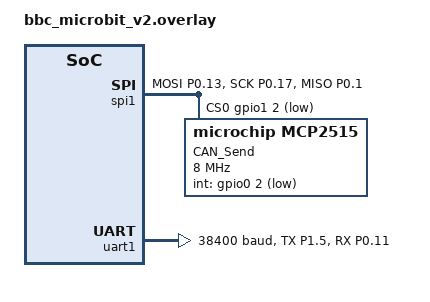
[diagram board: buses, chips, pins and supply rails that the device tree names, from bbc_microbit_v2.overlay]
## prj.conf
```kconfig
#Fenris24
CONFIG_STDOUT_CONSOLE=y
CONFIG_GPIO=y
CONFIG_ADC=y
CONFIG_CAN=y
CONFIG_SPI=y
CONFIG_CAN_MCP2515=y
CONFIG_NRFX_TIMER0=y
CONFIG_NRFX_TIMER1=y
CONFIG_NEWLIB_LIBC=y
CONFIG_SERIAL=y
CONFIG_UART_INTERRUPT_DRIVEN=y
CONFIG_UART_CONSOLE=y
CONFIG_RING_BUFFER=y

#(PROWLTECH25) Commented and coded by CA & RS 
CONFIG_BT=y  # (ProwlTech) Lar micro:bit bruke bluetooth
CONFIG_BT_PERIPHERAL=y  # (ProwlTech) aktiverer muligheten for andre enheter å koble til micro:bit
CONFIG_BT_CENTRAL=y # (ProwlTech) gjør det mulig for micro:bit å koble til andre enheter
CONFIG_BT_HCI=y # (ProwlTech) Micro:bit blir til en sentral for bluetooth
CONFIG_BT_OBSERVER=y # (ProwlTech) Lar micro:bit se hvilke bluetooth enheter som er nærhet
CONFIG_BT_DEVICE_NAME="Zephyr_Xbox" # (ProwlTech) Dette gir et navn til Micro:bit som andre kan se når de søker etter den
CONFIG_BT_MAX_CONN=1 # (ProwlTech) Setter en maksgrense på antall enheter tilkoblet til 1
CONFIG_BT_GATT_CLIENT=y # (ProwlTech) Tillater micro:bit å hente info fra kontroll
CONFIG_BT_GATT_DIS=y # (ProwlTech) Tillater micro:bit å kommunisere med kontroll og spørre om identifikasjon
CONFIG_BT_DEBUG=y # (ProwlTech) printer ut det som skjer i bluetooth systemet
CONFIG_BT_SMP=y # (ProwlTech) Kryptering så ingen kan tukle med forbindelsen
CONFIG_BT_HID_PROFILE=y # (ProwlTech) Micro:bit blir klar til å snakke med enheter som tastatur
CONFIG_BT_HIDP=y # (ProwlTech) Så micro:bit forstår kontrollen sitt "språk"
CONFIG_BT_GATT_DEBUG=y # (ProwlTech) Gir info om micro:bit klarer å kommunisere med kontrollen
CONFIG_BT_CONN_DEBUG=y # (ProwlTech) Gir info om forbindelsen er dårlig eller bra
CONFIG_BT_HCI_ACL_FLOW_CONTROLL=y # (ProwlTech) Passer på at micro:bit ikke blir overbelastet med data.
```

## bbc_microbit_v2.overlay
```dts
&spi1 {
	status = "okay";
	pinctrl-0 = <&spi1_default>;
	pinctrl-names = "default";
	cs-gpios = <&gpio1 2 GPIO_ACTIVE_LOW>;
	mcp2515_can: mcp2515@0 {
		compatible = "microchip,mcp2515";
        spi-max-frequency = <8000000>;
        int-gpios = <&gpio0 2 GPIO_ACTIVE_LOW>;
        status = "okay";
		label = "CAN_Send";
		reg = <0x0>;
		osc-freq = <16000000>;
		bus-speed = <125000>;
		sjw = <1>;
		prop-seg = <2>;
		phase-seg1 = <7>;
		phase-seg2 = <6>;
		#address-cells = <1>; 
		#size-cells = <0>;

	};

};
&uart1 {
    current-speed = <38400>;
	status = "okay";
	pinctrl-0 = <&uart1_default>;
	pinctrl-names = "default";
    label = "UART_1";
};

&pinctrl {
	spi1_default: spi1_default {
		group1 {
			psels = <NRF_PSEL(SPIM_MOSI, 0, 13)>,
					<NRF_PSEL(SPIM_SCK, 0, 17)>,
					<NRF_PSEL(SPIM_MISO, 0, 1)>;
		};
	};
	uart1_default: uart1_default {
		group1 {
			psels = <NRF_PSEL(UART_TX, 1, 5)>, <NRF_PSEL(UART_RX, 0, 11)>;
		};
	};
};

/ {
    chosen {
        zephyr,canbus = &mcp2515_can;
    };
};
```

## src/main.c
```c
#include <zephyr/kernel.h>
#include <zephyr/drivers/can.h>
#include "interrupt_and_threads.h"
#include "canbus.h"
#include "math_calc.h"
#include "path_check.h"
#include "canbus.h"
#include "bt_controller.h"


int main(void) {
    //(FENRIS24)configure_uart(uart_dev);
    btBegin();
    canBegin();
    start_sensor_thread();
    start_js_thread();
    interruptThreadBegin();

    while (1) {
        k_msleep(500);  //(FENRIS24) Sleep for 100 milliseconds
    }
    return 0; //(FENRIS24) Add return statement
}
```

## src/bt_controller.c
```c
#include "bt_controller.h"
#include <zephyr/sys/ring_buffer.h>
#include <zephyr/drivers/uart.h>
#include <zephyr/kernel.h>
#include <string.h>
#include <stdlib.h>
 //(FENRSI24) Commented and coded by OA

#include <zephyr/bluetooth/bluetooth.h>
#include <zephyr/bluetooth/gap.h>
#include <zephyr/bluetooth/conn.h>
 //(PROWLTECH25) Commented and coded by CA & RS 

const struct device *const get_uart_dev(void){ //(FENRSI24) ferFuction responsible for finding and accessing the UART/ HC-05 device
    return DEVICE_DT_GET(DT_NODELABEL(uart1)); //(FENRSI24) Returns the UART device by looking for it in the devicetree/ overlay file by label - 
}


static uint8_t ring_buffer_storage[RING_BUF_SIZE]; //(FENRSI24) Variable for storing the ring-buffer and its size
static struct ring_buf ringbuf; //(FENRSI24) Ring-buffer variable
static struct joystick_data last_received_data; //(FENRSI24) Last-received data variable
static bool new_data_available = false; //(FENRSI24) Variable used to represent if new data is available or not

struct joystick_data get_js_data(){ //(FENRSI24) Function that allows other parts of the program to access the received joystick data
    return last_received_data;
};

static void parse_joystick_data(char *data, struct joystick_data *joy_data) { //(FENRSI24) Function that parses/ filters out the isolated data from the uart callback function
    char *start = strchr(data, 'S'); //(FENRSI24) Searches for the first occurence of the character 'S' in the string, and the pointer 'start' will point to 'S' if found, or NULL if not
    char *end = strchr(data, 'E'); //(FENRSI24) Searches for the first occurence of the character 'E' in the string, and the pointer 'end' will point to 'E' if found, or NULL if not
    if (start && end && start < end) { //(FENRSI24) If test to check if both 'start' and 'end' are not NULL, and that 'start' is less than 'end', to make sure it comes in the right order
        *end = '\0'; //(FENRSI24) Terminate the string at the end delimiter
        joy_data->joystickId = (*(start + 1) - '0') != 0; //(FENRSI24) Extracts the character directlyn after 'S', converts it from ASCII to and integer, and checks if it is not zero, then assigns the value to the variable
        joy_data->x = atoi(start + 3); //(FENRSI24) Parses an integer staring from three characters after 'S', and thn assigning the value to the variable
        joy_data->y = atoi(strchr(start + 3, ',') + 1); //(FENRSI24) Finds the comma (',') following the X-values, parses the integer directly after the comma, and assigns the value into the Y-value variable
        new_data_available = true;  //(FENRSI24) Signal that new data is available
        last_received_data = *joy_data;  //(FENRSI24) Store the last received data
    }
}

void uart_fifo_callback(const struct device *dev, void *user_data) { //(FENRSI24) Function that reads data from UART FIFO buffer, processes it and isolates the desired data
    static char data_buffer[128]; //(FENRSI24) Buffer variable to hold incoming data
    static int data_pos = 0; //(FENRSI24) Variable for current position in buffer

    while (uart_irq_update(dev) && uart_irq_is_pending(dev)) { //(FENRSI24) While function that continues to run as long as there is available updates from the UART and there are pending interrupts
        if (uart_irq_rx_ready(dev)) { //(FENRSI24) If test to check if data is ready to be read
            uint8_t buffer[64]; //(FENRSI24) Temporary buffer to store data
            int recv_len = uart_fifo_read(dev, buffer, sizeof(buffer)); // Reads data into a temporary buffer and then returnes the number of bytes read
            if (recv_len > 0) { //(FENRSI24) If test checking if the length of the received buffer is greater than zero
                //(FENRSI24) Append data to buffer
                for (int i = 0; i < recv_len; i++) { //(FENRSI24) For-loop running as long as the position read in the buffer is less than the length of the buffer
                    if (buffer[i] == 'S') { //(FENRSI24) If test that checks for the start of a new packet
                        data_pos = 0; //(FENRSI24) Reset data position if found
                    }
                    if (data_pos < sizeof(data_buffer) - 1) { //(FENRSI24) If test that adds data to the data_buffer, while ensuring it does not overflow
                        data_buffer[data_pos++] = buffer[i];
                    }
                    if (buffer[i] == 'E') { //(FENRSI24) End of packet found, process data
                        data_buffer[data_pos] = '\0'; //(FENRSI24) Null terminate
                        parse_joystick_data(data_buffer, &last_received_data); //(FENRSI24) Call for using the function parse_joystick_data
                        data_pos = 0; //(FENRSI24) Reset for next packet
                    }
                }
            }
        }
    }
}


void process_joystick_data() { //(FENRSI24) Function that checks if there is new available data
    if (new_data_available) { //(FENRSI24) If test to check if there is new data available
        //(FENRSI24) printk("Using joystick data: ID=%d, X=%d, Y=%d\n", last_received_data.joystickId, last_received_data.x, last_received_data.y);
        new_data_available = false;  // Sets the new data variable to false, indicating that there is no new data available at this point
    }
}

void configure_uart(const struct device *dev) { //(FENRSI24) Fucntion for setting up interrupt-driven UART communication using a ring-buffer
    uart_irq_callback_set(dev, uart_fifo_callback); // Callback function that will be triggered by interrupts
    uart_irq_rx_enable(dev); //(FENRSI24) Function that enables the receive interrupt for the device, triggering the callback function when there is new data comming in
    ring_buf_init(&ringbuf, RING_BUF_SIZE, ring_buffer_storage); //(FENRSI24) Buffer used to store incoming data
}

static struct bt_conn *default_conn = NULL; //(PWORLTECH25) ....

void device_found(const bt_addr_le_t *addr, int8_t rssi, uint8_t type, struct net_buf_simple *ad) //(PWORLTECH25) ....
{
    char dev[BT_ADDR_LE_STR_LEN];
    bt_addr_le_to_str(addr, dev, sizeof(dev));
    printk("Device found: %s (RSSI %d)\n", dev, rssi);

    // Check if the device name contains "Xbox"
    if (strstr(dev, "Xbox")) {
        printk("Xbox Controller found! Connecting...\n");

        struct bt_conn_le_create_param *create_param = BT_CONN_LE_CREATE_PARAM(
            BT_CONN_LE_OPT_NONE, BT_GAP_SCAN_FAST_INTERVAL, BT_GAP_SCAN_FAST_WINDOW);

        int err = bt_conn_le_create(addr, create_param, BT_LE_CONN_PARAM_DEFAULT, &default_conn);
        if (err) {
            printk("Failed to create connection (err %d)\n", err);
        } else {
            printk("Connection established\n");
        }

        bt_le_scan_stop();  // Stop scanning after finding the controller
    }
}


void btReady(int err) //(PROWLTECH25) ....
{
    if (err) {
        printk("Bluetooth init failed");
        return;
    }
    printk("Bluetooth initialized\n");

    struct bt_le_scan_param scan_param = {
        .type       = BT_LE_SCAN_ACTIVE,
        .options    = BT_LE_SCAN_OPT_NONE,
        .interval   = BT_GAP_SCAN_FAST_INTERVAL,
        .window     = BT_GAP_SCAN_FAST_WINDOW,
    };

    err = bt_le_scan_start(&scan_param, device_found);
    if (err) {
        printk("Scanning failed to start");
        return;
    }
    printk("Scanning started\n");
}

void btBegin() //(PROWLTECH25) ...
{
    int err = bt_enable(btReady);
    if (err) {
        printk("Bluetooth init failed");
    }
}
```

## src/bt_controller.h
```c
#ifndef BT_CONTROLLER_H
#define BT_CONTROLLER_H

#include <zephyr/types.h>
#include <stdbool.h>

// Commented and coded by OA

#define RING_BUF_SIZE 1024 // Defining the size of the ring-buffer

struct joystick_data { // Struct that defines what the joystick-data variable contains
    bool joystickId; // True (1) for the right joystick, False (0) for the left
    int x;
    int y;
};

const struct device *const get_uart_dev(void); // Getting the UART device
struct joystick_data get_js_data(); // Struct that makes the joystick data accessible
void configure_uart(const struct device *dev); // Configures the UART
void uart_fifo_callback(const struct device *dev, void *user_data); // Callback function for reading the UART buffer
void process_joystick_data(); // Function that checks if there is new available data
void btBegin(); // Function responcible for the initialization, configuration and startup of the UART/ HC-05 device

#endif 
```

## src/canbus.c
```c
#include <zephyr/kernel.h>
#include <zephyr/drivers/can.h>
#include <zephyr/drivers/spi.h>
#include <zephyr/drivers/gpio.h>
#include <zephyr/device.h>
#include "canbus.h"
#include <stdio.h>
//(FENRIS24) Commented and coded by OA

uint8_t received_byte;

void canBegin(void){ //(FENRIS24) Function for startring up and initializing the CAN device
    const struct device *const can_dev = get_can_dev(); //(FENRIS24) Getting the CAN device connected to the system
    
    if (!can_dev) { //(FENRIS24) Test that checks is the CAN device is found. If not it will print the error message and return
        printk("Cannot find CAN device!\n");
        return;
    }

    int ret = can_start(can_dev); //(FENRIS24) Starting up the CAN device
    if (ret != 0) { //(FENRIS24) Check to see if the CAN device has started, if not it will print the error message and return
        printf("Failed to start CAN controller: Error %d\n", ret);
        return;
    }
    if (setup_can_filter(can_dev, can_rx_callback, NULL) < 0) { //(FENRIS24) Check to see if the CAN filter is set up or not
        printk("Failed to add CAN filter\n");
        return;
    }
}

uint8_t get_sensor_byte(){ //(FENRIS24) Function that allows other parts of the program to access the received sensor byte
    return received_byte;
}

const struct device *const get_can_dev(void){ //(FENRIS24) Fuction responsible for finding and accessing the CAN device
    return DEVICE_DT_GET(DT_CHOSEN(zephyr_canbus)); //(FENRIS24) Returns the CAN device by looking for it in the devicetree/ overlay file under "chosen"
} 



int setup_can_filter(const struct device *dev, can_rx_callback_t rx_cb, void *cb_data){ //(FENRIS24) Function for setting up the can filter, taking in the CAN device, callback function and cb data
    struct can_filter filter_str = { //(FENRIS24) CAN filter for a string
        .flags = CAN_FILTER_DATA | CAN_FILTER_IDE, //(FENRIS24) Setting the flags for the filter, where the filter matches the data frames, and that the filter matches CAN frames with extended ID (29-bit)
	    .id = RECEIVE_ID_STR, //(FENRIS24) Filter ID set to match the sender ID of the string, defined in the header file.
	    .mask = CAN_EXT_ID_MASK //(FENRIS24) Filter bit mask for an extended 29-bit CAN ID
    };

    struct can_filter filter_byte = { //(FENRIS24) CAN filter for a byte
        .flags = CAN_FILTER_DATA | CAN_FILTER_IDE, //(FENRIS24) Setting the flags for the filter, where the filter matches the data frames, and that the filter matches CAN frames with extended ID (29-bit)
	    .id = RECEIVE_ID_BYTE, //(FENRIS24) Filter ID set to match the sender ID of the byte, defined in the header file.
	    .mask = CAN_EXT_ID_MASK //(FENRIS24) Filter bit mask for an extended 29-bit CAN ID
    };

    struct can_filter filter_pi = { //(PROWLTECH25) CAN filter for PI
        .flags = CAN_FILTER_DATA | CAN_FILTER_IDE,
        .id = RECEIVE_ID_PI,
        .mask = CAN_EXT_ID_MASK
    };

    int filter_id_str = can_add_rx_filter(dev, rx_cb, cb_data, &filter_str); //(FENRIS24) Setting the filter for the string as a variable
    int filter_id_byte = can_add_rx_filter(dev, rx_cb, cb_data, &filter_byte); //(FENRIS24) Setting the filter for the byte as a variable
    int filter_id_pi = can_add_rx_filter(dev, rx_cb, cb_data, &filter_pi); //(PROWLTECH25) filter for kontroller values from PI 

    return (filter_id_str >= 0 && filter_id_byte >= 0 && filter_id_pi >= 0) ? 0 : -1;  //(FENRIS24) Return 0 if both filters are added successfully //(PROWLTECH25) Pi also return to 0
}

void can_rx_callback(const struct device *dev, struct can_frame *frame, void *user_data) { //(FENRIS24) Function for checking CAN frames on the bus
    if (frame->id == RECEIVE_ID_STR && frame->dlc <= 8) { //(FENRIS24) If test for checking if the frame-ID matches the receive ID for the string frame, and if the size of the frame is equal to or less than 8 byte
        char received_str[9]; //(FENRIS24) Character variable to put the string in
        memcpy(received_str, frame->data, frame->dlc); //(FENRIS24) Copies the data from the received CAN frame into received_str buffer
        received_str[frame->dlc] = '\0'; //(FENRIS24) NULL terminates it for safe processing
        //(FENRIS24) printk("Received string from ID 0x%X: %s\n", frame->id, received_str);
    } 
    //(FENRIS24) Checking if the frame on the BUS has the ID and frame data size as the one sent from the Sensor node
    else if (frame->id == RECEIVE_ID_BYTE && frame->dlc == 1) { 
        received_byte = frame->data[0];
        //(FENRIS24) printk("Received byte from ID 0x%X: %02X\n", frame->id, received_byte);
    } 
    else {
        printk("Unexpected data format or ID\n");
    }
}

/* Function to convert CAN state to readable string */
const char* can_state_to_str(enum can_state state) {
    switch (state) {
        case CAN_STATE_ERROR_ACTIVE: 
            return "ERROR ACTIVE";
        case CAN_STATE_ERROR_WARNING:
            return "ERROR WARNING";
        case CAN_STATE_ERROR_PASSIVE:
            return "ERROR PASSIVE";
        case CAN_STATE_BUS_OFF:
            return "BUS OFF";
        case CAN_STATE_STOPPED:
            return "STOPPED";
        default:
            return "UNKNOWN";
    }
}

void send_custom_data (const struct device *can_dev, uint8_t js_bool, int16_t js_deg_int, int16_t js_spd_int){ //(FENRIS24) Function for sending joystick data over the bus
    struct can_frame frame; //(FENRIS24) Defining a CAN frame called frame
    memset(&frame, 0, sizeof(frame)); //(FENRIS24) Zeros out the frame to ensure that all bits starts in a knwown state
        
    frame.flags = CAN_FRAME_IDE; //(FENRIS24) Use extended identifier
    frame.id = MSG_ID; //(FENRIS24) Using the message ID for the frame that is defined in the header file
    frame.dlc = 5; //(FENRIS24) Defines the length of the byte in the frame to 5

    frame.data[0] = js_bool; //(FENRIS24) Places the boolean value of the joystick used into the first byte of the data field
    memcpy(&frame.data[1], &js_deg_int, sizeof(js_deg_int)); //(FENRIS24) Copies the 2 bytes of the joystick-degree integer, starting at the second byte
    memcpy(&frame.data[3], &js_spd_int, sizeof(js_spd_int)); //(FENRIS24) Copies the 2 bytes of the joystick-speed integer, starting at the fourth byte

    if (can_send(can_dev, &frame, K_SECONDS(10), NULL, NULL) != 0) { //(FENRIS24) If test to check if the CAN frame is sent or not
            printk("Failed to send frame\n");
        } /*else {
            printk("Frame sent\n");
        }*/
}

void get_pi_controller_data(struct can_frame *frame) {
    if (frame->dlc != 8) {
        printk("Feil: Forventet 8 byte fra Pi, fikk %d\n", frame->dlc);
        return;
    }

    uint8_t knapper = frame->data[0];
    uint8_t status = frame->data[1];
    int16_t venstre_y, høyre_y;
    uint8_t lt = frame->data[6];
    uint8_t rt = frame->data[7];

    memcpy(&venstre_y, &frame->data[2], sizeof(int16_t));
    memcpy(&høyre_y, &frame->data[4], sizeof(int16_t));

    // Print or handle
    printk("[PI] Knapper: 0x%02X, Status: 0x%02X\n", knapper, status);
    printk("[PI] Venstre Y: %d, Høyre Y: %d, LT: %u, RT: %u\n", venstre_y, høyre_y, lt, rt);

    // TODO: Use values to control motors, LEDs, etc.
}
```

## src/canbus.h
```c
#ifndef __CANBUS_H
#define __CANBUS_H
#include <zephyr/drivers/can.h>

//(FENRIS24) Commented and coded by OA

//(FENRIS24) can_dev
const struct device *const get_can_dev(void); // Function for getting the CAN device

//(FENRIS24) can_receive
#define RECEIVE_ID_STR 0x0000002 //(FENRIS24) RECEIVE ID matching the message ID of the motor frame
#define RECEIVE_ID_BYTE 0x0000003 //(FENRIS24) RECEIVE ID matching the message ID of the sensor frame
#define RECEIVE_ID_PI 0x0000004 //(PROWLTECH25) Receive id matching the message id for the Raspberry Pi 4 (GUI) 

int setup_can_filter(const struct device *dev, can_rx_callback_t rx_cb, void *cb_data); //(FENRIS24) Function for setting up the CAN filter

void can_rx_callback(const struct device *dev, struct can_frame *frame, void *user_data); // Function for looking at CAN frames on the bus, and retreiving them
uint8_t get_sensor_byte(); //(FENRIS24) Function for accessing the sensor byte sent over the bus from the sensor node
//can_send
#define MSG_ID 0x0000001 //(FENRIS24) Message ID of the frame

const char* can_state_to_str(enum can_state state); // Function that converts the CAN states to string
void send_custom_data (const struct device *can_dev, uint8_t js_bool, int16_t js_deg_int, int16_t js_spd_int); // Function for sending a CAN frame with joystick data 

void canBegin(void); //(FENRIS24) Function for initializing and starting the CAN device
#endif
```

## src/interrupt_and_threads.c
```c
#include "interrupt_and_threads.h"
#include "math_calc.h"
#include "path_check.h"
#include "canbus.h"
#include <zephyr/kernel.h>
#include <zephyr/sys/printk.h>
#include "bt_controller.h"



//(FENRIS24) Definerer hvor stort plass hver tråd skal tildeles
#define PROCESS_THREAD_STACK_SIZE_JOY 4096
#define PROCESS_THREAD_STACK_SIZE_SENS 4096
#define PROCESS_THREAD_STACK_SIZE_INT 4096

//(FENRIS24) Definerer prioriteten til hver tråd
#define PROCESS_THREAD_PRIORITYJOY 3
#define PROCESS_THREAD_PRIORITYSENS 2
#define PROCESS_THREAD_PRIORITYINT 1

//(FENRIS24) Reserverer et område på "stacken" til hver tråd
K_THREAD_STACK_DEFINE(sensor_stack, PROCESS_THREAD_STACK_SIZE_SENS);
K_THREAD_STACK_DEFINE(joystick_stack, PROCESS_THREAD_STACK_SIZE_JOY);
K_THREAD_STACK_DEFINE(int_stack, PROCESS_THREAD_STACK_SIZE_INT);

//(FENRIS24) Variabel av datatype med 2 heltall (x og y) som brukes etter det er utført en stereografisk projeksjon på potmeter x og y verdi.
struct ProjectionResult x_y_temp;

//(FENRIS24) Global variabel som kontinuerlig skal oppdateres med sensor-verdi sendt over CANBUS fra sensor-kontroller
uint8_t sensorRead;

//(FENRIS24) 3 trådstruktur-variabler. En for hver tråd.
struct k_thread process_thread1;
struct k_thread process_thread2;
struct k_thread process_thread3;

// Variabel med datatype som kan holde rå joystick-data sendt over bluetooth
static struct joystick_data js_raw_data;

//(FENRIS24) Variabel med datatype som kan holde en kjøre-kommando
struct data_for_motorcontroller data;

//(FENRIS24) Lager thread_id variabler lik NULL. Hvis null så settes så kan en tråd startes. Det er bygd slik fordi noen tråder bare skal initialiseres èn gang.
k_tid_t js_thread_id = NULL;
k_tid_t sensor_thread_id = NULL;
static k_tid_t thread_id = NULL;

//(FENRIS24) Variabel brukt til å feilteste. Brukt til å teste om timet interrupt ble triggret ved hvert intervall. Hvis så ble counter++.
int counter = 0;

//(FENRIS24) Litt usikker på hva denne gjør
#define TIMER_INST_IDX 1

//(FENRIS24) Definerer hvor ofte interrupt skal inntreffe i millisekunder
#define TIME_TO_WAIT_MS 500UL

//(FENRIS24) Funksjonen som sammenligner ønsket kjøreretning med sensor-verdier avlest. Kjørekommando sendes videre over CANBUS etter sammenligning
void process_data(struct data_for_motorcontroller data, uint8_t sensorVals) {

        
        //(FENRIS24) Sammenligner ønsket kjørertning med sensorverdi, og oppdaterer kjørekommando med resultatene fra sammenligningen. 
        struct path_check_results motor_values = path_check(data.angle , data.speed, data.js, sensorRead);

        //(FENRIS24) Sender kjørekommando over CANBUS
        send_custom_data(get_can_dev(), (uint8_t)motor_values.js_num, (int16_t)motor_values.angle, (int16_t)motor_values.speed);

        //(FENRIS24) Etter tråden er kjørt, må tråd_id settes lik NULL igjen slik at den kan startes på nytt ved neste timet interrupt
        if (thread_id != NULL) {
            //(FENRIS24) Venter til tråden er ferdig, og fjerner den når jobben er gjort
            k_thread_join(thread_id, K_FOREVER);

            //(FENRIS24) Setter thread_id = NULL
            thread_id = NULL;
        }
}


int get_counter(){
    //(FENRIS24) Returnerer counter
    return counter;
}


static void timer_handler(nrf_timer_event_t event_type, void *p_context)
{
    //(FENRIS24) Funksjonen venter på at korrekt "event" skjer. Skjer ved timet interrupt
    if(event_type == NRF_TIMER_EVENT_COMPARE0)
    {
        if(thread_id == NULL){
            counter++;
        
        //(FENRIS24) Lager en ny variabel som er lik en tråd med parametere: trådvariabel av tråddatatype, hvilken stack den skal bruke, strørrelsen på stacken, 
        //(FENRIS24) hvilken funksjon som skal kjøre, og prioritet.
            k_tid_t thread_id = k_thread_create(&process_thread1, int_stack,
                                            K_THREAD_STACK_SIZEOF(int_stack),
                                            (k_thread_entry_t)process_data, NULL,
                                            NULL, NULL, PROCESS_THREAD_PRIORITYINT, 0,
                                            K_NO_WAIT);
        //(FENRIS24) Hvis tråd lages uten feil
            if (thread_id != NULL) {
                printk("Thread created successfully\n");
            } else {
                //(FENRIS24) Hvis thread_id ikke setter til den nye tråden vil den fortsatt være lik NULL. Dette betyr at en feil oppsto i konstruksjonen av tråden
                printk("Failed to create thread\n");
            }        
        }
    k_msleep(10);
    }
}




void continous_js_thread(){
        while (1){
                //(FENRIS24) Henter joystick-data fra bt_controller.c.
                js_raw_data = get_js_data();
                
                //(FENRIS24) Funksjon for å si til bt_controller at data er hentet
                process_joystick_data();

                //(FENRIS24) Lager en ny variabel av datatype som skal holde x og y verdi etter en stereografisk projeksjon. Variabelen settes lik funksjonen som utfører
                //(FENRIS24) projeksjonen og sender ny-utregnet x og y ut av den.
                x_y_temp = stereographic_projection_2D(js_raw_data.x , js_raw_data.y);

                //(FENRIS24) Setter global kjørekommando sin vinkel lik dataen som kommer ut av funksjonen som kalkulerer vinkel ut fra x- og y-verdi.
                data.angle = calculate_angle_degrees(x_y_temp.x, x_y_temp.y);

                //(FENRIS24) Setter global kjørekommando sin fart lik en skalert verdi av hva punkt x og y sin lengde fra origo er i planet. Den skaleres i forhold til maks verdi den kan ha (512).
                data.speed = scale_to_percent(calculate_radius(x_y_temp.x, x_y_temp.y), 512);

                //(FENRIS24) Setter global kjørekommando sin bool lik joystick dataen sin bool. Ingen endring eller manipulering av verdien er ikke nødvendig
                data.js = js_raw_data.joystickId;

                //(FENRIS24) Printer verdiene til skjerm. Mest brukt for testing av verdier og funksjoner. brukt til test.
                //(FENRIS24) printk("Angle: %d, speed: %d\n", data.angle, data.speed);

                //(FENRIS24) Systemet sover i 0.1 sekund før tråden kjøres igjen. Sove-perioden må kalibreres som et forhold til hvor ofte den tidsbaserte interrupten triggres.
                k_msleep(10);
        }
}

void continous_sensor_thread(){
        while(1){

                //(FENRIS24) Henter sensordata fra CANBUS.c
                sensorRead = get_sensor_byte();

                //(FENRIS24) Printer sensorverdi til skjerm. Brukt til test.
                //(FENRIS24) printk("Sensorverdi: %d\n", (int)sensorRead);

                //(FENRIS24) Systemet sover i 0.01 sekund før tråden kjøres igjen. Sove-perioden kalibreres som et forhold av tidsbasert interrupt.
                k_msleep(10);
        }
}

void interruptThreadBegin(){
        //(FENRIS24) Sender melding til seriell monitor om at timed-interrupt initialiseres og navn på det konfigurerte brettet.
        printk("Timed interrupt initialized! %s\n", CONFIG_BOARD);
	
    //(FENRIS24) Oppsettet til timeren:
	#if defined(__ZEPHYR__)
        //(FENRIS24) IRQ = interrupt request. Her kobles opp en timet interrupt request, med interrupt vektor av lavest prioritet.
    	IRQ_CONNECT(NRFX_IRQ_NUMBER_GET(NRF_TIMER_INST_GET(TIMER_INST_IDX)), IRQ_PRIO_LOWEST,
                NRFX_TIMER_INST_HANDLER_GET(TIMER_INST_IDX), 0, 0);
	#endif
	
        //(FENRIS24) Henter timerinstansen
	    nrfx_timer_t timer_inst = NRFX_TIMER_INSTANCE(TIMER_INST_IDX);

        //(FENRIS24) Henter basefrekvensen til timerinstansen
 	    uint32_t base_frequency = NRF_TIMER_BASE_FREQUENCY_GET(timer_inst.p_reg);

        //(FENRIS24) Konfigurerer standardkonfigurasjon for timer
        nrfx_timer_config_t config = NRFX_TIMER_DEFAULT_CONFIG(base_frequency);
        config.bit_width = NRF_TIMER_BIT_WIDTH_32; // Bitbredde lik 32 bits
        config.p_context = "My context";

        //(FENRIS24) Inititialiserer timer med konfigurasjon og angir funksjon som skal kjøres ved interrupt
        nrfx_err_t status = nrfx_timer_init(&timer_inst, &config, timer_handler);
            if (status != NRFX_SUCCESS) {
            printk("Timer initialization failed: %d\n", status);
        }

        //(FENRIS24) Sjekk om initaliseringen var vellykket
        NRFX_ASSERT(status == NRFX_SUCCESS);

        //(FENRIS24) Funksjon som nullstiller timeren
        nrfx_timer_clear(&timer_inst);

        //(FENRIS24)
        uint32_t desired_ticks = nrfx_timer_ms_to_ticks(&timer_inst, TIME_TO_WAIT_MS);
    
    
     
        //(FENRIS24) Funksjon som setter opp en timerkanal. Kanalen sammenligner ønsket "ticks" med internt tallregister.
        //(FENRIS24) Når tallregistrert er likt antall ticks vil systemet interruptes.
        nrfx_timer_extended_compare(&timer_inst, NRF_TIMER_CC_CHANNEL0, desired_ticks,
                                NRF_TIMER_SHORT_COMPARE0_CLEAR_MASK, true);

        //(FENRIS24)Funksjon som aktiverer timeren
        nrfx_timer_enable(&timer_inst);
}

void start_js_thread(){

    //(FENRIS24) Printer til skjerm at initialisering av tråden har startet. Brukt til testing
    //(FENRIS24) printf("Joystick-thread started!");

    if(js_thread_id == NULL){

        //(FENRIS24) Lager en ny variabel som er lik en tråd med parametere: trådvariabel av tråddatatype, hvilken stack den skal bruke, strørrelsen på stacken, 
        //(FENRIS24) hvilken funksjon som skal kjøre, og prioritet.
        k_tid_t js_thread_id = k_thread_create(&process_thread2, joystick_stack,
                                           K_THREAD_STACK_SIZEOF(joystick_stack),
                                           continous_js_thread, NULL, NULL,
                                           NULL, PROCESS_THREAD_PRIORITYJOY, 0,
                                           K_NO_WAIT);
    
        //(FENRIS24) Hvis tråden ikke er lik NULL, altså at tråd_id har blitt satt lik tråden, printes en suksessmelding til seriell monitor.
        if (js_thread_id != NULL) {
            printk("Joystick thread created successfully\n");
        } else {
            //(FENRIS24) Hvis tråden er lik NULL, altså at tråd_id ikke har blitt satt lik tråden, printes en feilmelding til seriell monitor.
            printk("Failed to create Joystick thread\n");
        }
    }
}

void start_sensor_thread(){

    //(FENRIS24) Når initialiseringen skjer printes det til skjerm. Brukt til testing
    //(FENRIS24) printf("Sensor-thread started!");

    if (sensor_thread_id == NULL){

        //(FENRIS24) Lager en ny variabel som er lik en tråd med parametere: trådvariabel av tråddatatype, hvilken stack den skal bruke, strørrelsen på stacken, 
        //(FENRIS24) hvilken funksjon som skal kjøre, og prioritet.
        k_tid_t sensor_thread_id = k_thread_create(&process_thread3, sensor_stack,
                                               K_THREAD_STACK_SIZEOF(sensor_stack),
                                               continous_sensor_thread, NULL, NULL,
                                               NULL, PROCESS_THREAD_PRIORITYSENS, 0,
                                               K_NO_WAIT);
        //(FENRIS24) Hvis tråden ikke er lik NULL, altså at tråd_id har blitt satt lik tråden, printes en suksessmelding til seriell monitor.
        if (sensor_thread_id != NULL) {
            printk("Sensor thread created successfully\n");
        } else {
            //(FENRIS24) Hvis tråden er lik NULL, altså at tråd_id ikke har blitt satt lik tråden, printes en feilmelding til seriell monitor.
            printk("Failed to create Sensor thread\n");
        }
    }
}
```

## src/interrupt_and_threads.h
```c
#ifndef __INTERRUPT_AND_THREADS_H
#define __INTERRUPT_AND_THREADS_H

#include <stdio.h>
#include <stdbool.h>
#include <zephyr/sys/printk.h>
#include <nrfx_timer.h>

//(FENRIS24) Dette er en datatype brukt til å ta imot joystick-data fra den trådløse kontrolleren
//(FENRIS24) Den består av 2 heltall (potmeter verdi i x og y retning), og en bool (om joystick knapp er trykket inn)
struct js_data_raw {
    int pot_x; 
    int pot_y; 
    bool js;
};

//(FENRIS24) Dette er en datatype brukt for konvertert joystick-data, og er hva som vil bli kjørekommando for motor-kontroller.
//(FENRIS24) Den består av 2 heltall (vinkel til punktet x og y lager, og hypotenusen punktet lager fra origo) 
//(FENRIS24) og en bool om joystickknapp er trykket inn.
struct data_for_motorcontroller {
    int angle; 
    int speed; 
    bool js;
};

//(FENRIS24) funksjon brukt til feiltesting av tråder. Ble brukt til å se hvor mange ganger interrupten inntraff.
int get_counter();

//(FENRIS24) Dette er prosesseringsfunksjonen som kjøres i tråden som lages ved hver timet interrupt.
void process_data(struct data_for_motorcontroller data, uint8_t sensorVals);

//(FENRIS24) Dette er en tråd-funksjon som kontinuerlig kjøres, og dens oppgave er å konvertere joystick data til en kjørekommando, så lagre den globalt så process_data finner den.
void continous_js_thread();

//(FENRIS24) Dette er en tråd-funksjom som kontinuerlig kjøres, og dens oppgave er å hente sensor-dataen fra bt_controller bibliotek, så lagre den globalt så process_data finner den.
void continous_sensor_thread();

//(FENRIS24) Dette er funksjonen som kjøres når timet interrupt inntreffer. Når interrupt inntreffer endres event_type slik at ny funksjonalitet skjer --> lager tråd som kjører process_data
static void timer_handler(nrf_timer_event_t event_type, void *p_context);

//(FENRIS24) Dette er funksjonen som setter opp og initialiserer timet interrupt. Denne funksjonen er tatt fra veileders kode på github: https://github.com/aiunderstand/Real-TimeOS-with-Microbit-nRF52833/tree/main/Zephyr-C/Hardware_Timer_with_interrupt
void interruptThreadBegin();

//(FENRIS24) Dette er funksjonen som initialiserer og starter tråden som leser joystick-data. Tråden kjører continous_js_thread()
void start_js_thread();

//(FENRIS24) Dette er funksjonen som initialiserer og starter tråden som leser sensor-data. Tråden kjører continous_sensor_thread()
void start_sensor_thread();

#endif
```

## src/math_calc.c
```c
#include <math.h>
#include "math_calc.h"
//(PROWLTECH25) Commented and coded by CA & RS 

// (FENRIS24) Funksjonen tar inn rå potmeter verdi sendt fra kontroller (0 til 1023)
struct ProjectionResult stereographic_projection_2D(int x, int y){
    // (FENRIS24) Trekker fra 512 (1023/2) fra x og y. Må finne midtpunkt og ha muligheten til å ha negative akse-verdier for å senere bruke verdier i enhetssirkel.
    int unit_x = x - 512;
    int unit_y = y - 512;

    // (FENRIS24) Finner forholdet mellom x og y verdi
    double a = (double)y / (double)x;

    // (FENRIS24) Trigonometrisk formel for å finne x i en sirkel vha forholdet mellom x og y i en firkant
    double temp_x = 1 / sqrt(1 + (a * a));

    // (FENRIS24) Finner y-verdi ved å bruke forholdet mellom x og y i en firkant, og multipliserer med ny x-verdi
    double temp_y = a * temp_x;
    
    // (FENRIS24) lager en variabel som kan holde resultatene fra funksjonen
    struct ProjectionResult result;

    //(FENRIS24)  Oppdaterer variablen med resultatene utregnet i funksjonen
    result.x = (int)(temp_x * unit_x);
    result.y = (int)(temp_y * unit_y);

    // (FENRIS24) Funksjon som sjekker etter fortegnsfeil etter omforming av verdier
    if ((unit_y > 29 && result.y < 29) || (unit_y < -29 && result.y > 29)){
        result.y = (result.y * -1);
    }
    
    // (FENRIS24) Returnerer variablen
    return result;
}

// (FENRIS24) Denne funksjonen på få inn stereografisk projeksjonerte x og y verdier
int calculate_angle_degrees(int x, int y){
    // (FENRIS24) Lager variabler som lagrer x og y midlertidig
    int temp_x = x;
    int temp_y = y;

    // (FENRIS24) Funksjon for å definere dødsonen til joystick i x-retning
    if ((-40 < x) && (x < 41)){
        temp_x = 0;
    }
    //(FENRIS24)  Funksjon for å definere dødsone til joystick i y-retning
    if ((-28 < y) && (y < 29)){
        temp_y = 0;
    }

    // (FENRIS24) Sikkerhetslag i tilfelle joystick-verdiene kommer utenfor maks område i negativ og positiv retning
    if (x > 512){temp_x = 512;}
    if (x < -512){temp_x = -512;}
    if (y > 512){temp_y = 512;}
    if (y < -512){temp_y = -512;}

    // (FENRIS24) Lager variabel som skal holde vinkelen målt i radianer. Variabelen settes lik resultatet av en atan2 funksjon med x og y som parametere
    double angle_radians = atan2(temp_x, temp_y);

    //(FENRIS24)  Lager variabel som skal holde vinkel målt i grader. Variabelen settes lik radianer utregnet omgjort til vinkel
    double angle_degrees = ((angle_radians * 180) / 3.14159);

    //(FENRIS24) atan2 gir vinkel fra -180 til 180 grader. Denne funksjonen omgjør negativ vinkel til vinkler over 180 grader. Slik at 0-360 grader oppnåes.
    if (angle_degrees < 0){angle_degrees += 360.0;}

    // (FENRIS24)  returnerer utregnet vinkel
    return (int)angle_degrees;
}

// (FENRIS24) Funksjon som regner på punkt(x,y) sin lengde fra origo. Bruker vanlig pytagoras setning h = sqrt(k1*k1 + k2*k2)
int calculate_radius(int x, int y){
    // (FENRIS24) lager variabler midlertidig for å holde verdiene.
    int temp_x = x;
    int temp_y = y;

    // (FENRIS24) Sjekk for å definere dødsone fra joystick
    if ((-40 < x) && (x < 40)){
        temp_x = 0;
    }
    if ((-40 < y) && (y < 40)){
        temp_y = 0;
    }

    // (FENRIS24) lager variabel som holder resultatet utregnet etter pytagoras sin setning
    double radius = sqrt((temp_x * temp_x) + (temp_y * temp_y));

    // (FENRIS24) Returnerer punktets lengde fra origo
    return (int)radius;
}


int scale_to_percent(int number, int max_value){
    // (FENRIS24) Lager variabel som holder det skalerte tallet etter prosentutregning.
    double scaled_number = ((double)number / (double)max_value) * 100.0;

    // (FENRIS24)  Returnerer tall som beskriver hvor stort number er iforhold til max_value
    return (int)(scaled_number);
}
```

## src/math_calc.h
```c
#ifndef __MATH_CALC_H
#define __MATH_CALC_H

//(FENRIS24) Datatype for variabel som skal holde x og y verdi etter stereografisk projeksjon
struct ProjectionResult {
    int x;
    int y;
};
//(FENRIS24) Funksjon som omgjør akser i en firkant til akse-verdier på en sirkel
struct ProjectionResult stereographic_projection_2D(int x, int y);

//(FENRIS24) Funksjon som regner vinkel til punkt(x,y) fra origo
int calculate_angle_degrees(int x, int y);

//(FENRIS24) Funksjon som regner avstanden fra punkt(x,y) til origo
int calculate_radius(int x, int y);

//(FENRIS24) Funksjon som skalerer et tall iforhold til en referanse verdi
int scale_to_percent(int number, int scale_ref);
#endif
```

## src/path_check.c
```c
#include <stdio.h>
#include <stdbool.h>
#include "path_check.h"

struct path_check_results path_check(int angle, int speed, bool js_num, uint8_t sensorValues){
    //(FENRIS24) Lager en variabel som kan settes lik sensorene i retningen som skal testen. Se Masketabell for sensorer (tabell 9 i rapport)
    uint8_t testBits;

    //(FENRIS24) Variabelen som manipuleres og returneres fra funksjonen
    struct path_check_results forward_results;
    forward_results.angle = angle;
    forward_results.js_num = js_num;

    //(FENRIS24) Hvis sann er laterale bevegelser valgt
    if (js_num == true){
        
        //(FENRIS24) For å kunne kjøre skal joystick være minst 10% ut fra origo. 10% hastighet
        if (speed > 10){
        //(FENRIS24) Funksjon som tester om joysticken er satt i en fremover-kjørings posisjon
            if ((angle >= 337 && angle <= 360) || (angle >= 0 && angle < 23)) {
            
                printf("FORWARD\n");
                //(FENRIS24) Her må det bitsvis AND'es med 0001 (se tabell), så variabelen settes lik sensoren som sanser fremover
                testBits = (uint8_t)1;

                //(FENRIS24) Funksjon som tester om bitvis operasjonen returnerer en verdi større enn 0. Hvis dette skjer betyr det at sensoren sanser et objekt i retningen, og kjørekommandoen må blokkeres.
                if ((int)(sensorValues & testBits) > 0){
                    //(FENRIS24) fart settes lik null hvis sensor er blokkert
                    forward_results.speed = 0;
                    
                }
                else{
                    //(FENRIS24) fart settes lik den opprinnelige farten hvis sensor IKKE er blokkert
                    forward_results.speed = speed;
                    
                }

            } else if(angle >= 23 && angle < 67){
                //(FENRIS24) Diagonal kjøring fremover mot høyre
                printf("Right-Forward diagonal");
                testBits = (uint8_t)3;
                if ((int)(sensorValues & testBits) > 0){
                    forward_results.speed = 0;
                    
                }
                else{
                    forward_results.speed = speed;
                    
                }

            } else if (angle >= 67 && angle < 112) {
                //(FENRIS24) Streifing mot høre
                printf("RIGHT STRAFE\n");
                testBits = (uint8_t)2;
                if ((int)(sensorValues & testBits) > 0){
                    forward_results.speed = 0;
                    
                }
                else{
                    forward_results.speed = speed;
                    
                }

            } else if (angle >= 112 && angle < 157){
                //(FENRIS24) Diagonal kjøring bakover mot høyre
                printf("Right-Backward diagonal");
                testBits = (uint8_t)10;
                if ((int)(sensorValues & testBits) > 0){
                    forward_results.speed = 0;
                    
                }
                else{
                    forward_results.speed = speed;
                    
                }

            } else if (angle >= 157 && angle < 202) {
                //(FENRIS24) Bakover kjøring
                printf("BACKWARDS\n");
                testBits = (uint8_t)8;
                if ((int)(sensorValues & testBits) > 0){
                    forward_results.speed = 0;
                    
                }
                else{
                    forward_results.speed = speed;
                    
                }

            } else if (angle >= 202 && angle < 247) {
            //(FENRIS24) Diagonal bakover til venstre kjøring.
                printf("Left-Backward diagonal");
                testBits = (uint8_t)12;
                if ((int)(sensorValues & testBits) > 0){
                    forward_results.speed = 0;
                    
                }
                else{
                    forward_results.speed = speed;
                    
                }

            } else if (angle >= 247 && angle < 292){
            //(FENRIS24) Vesntre streifing
                printf("LEFT STRAFE\n");
                testBits = (uint8_t)4;
                if ((int)(sensorValues & testBits) > 0){
                    forward_results.speed = 0;
                    
                }
                else{
                    forward_results.speed = speed;
                    
                }

            } else if (angle >= 292 && angle < 337){
            //(FENRIS24) diagonal kjøring fremover mot venstre
                printf("Left-Forward diagonal");
                testBits = (uint8_t)5;
                if ((int)(sensorValues & testBits) > 0){
                    forward_results.speed = 0;
                    
                }
                else{
                    forward_results.speed = speed;
                    
                }
            }
        }
        else {
            //(FENRIS24) Hvis en vinkel utenfor 0-360 av en eller annen grunn sendes til funksjonen, skal bilen stå stille.
            printf("Standing still, no motion\n");
            forward_results.speed = 0;
            }
    
    }

    //(FENRIS24) Funksjon for å se om det er ønsket å rotere bilen
    else if(js_num == false){

        if (speed > 10){
            if (angle >= 20 && angle < 160){
            //(FENRIS24) Roter rundt egen akse mot høyre
                printf("RIGHT Rotate\n");
                testBits = (uint8_t)15;
                if ((int)(sensorValues & testBits) > 0){
                    forward_results.speed = (int)(speed/2);
                    
                }
                else{
                    forward_results.speed = speed;
                    
                }
            } 
        
        else if (angle > 200 && angle < 340){
            //(FENRIS24) Rotasjon rundt egen akse mot venstre
            
            printf("LEFT Rotate\n");
            testBits = (uint8_t)15;
                if ((int)(sensorValues & testBits) > 0){
                    forward_results.speed = (int)(speed/2);
                    
                }
                else{
                    forward_results.speed = speed;
                    
                }
                
            }
            else {
            printf("No rotation\n");
            forward_results.speed = 0;
            }
        
        }
        //(FENRIS24) Hvis joysticken er i vinkel mellom rotasjonsintervallene eller av en eller annen grunn gir verdier utenfor 0-360 grader.
        else {
            printf("Standing still, no rotation\n");
            forward_results.speed = 0;
            }
    }
    //(FENRIS24) returnerer kjørekommandoen etter test
    return forward_results;
}
```

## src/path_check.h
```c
#ifndef __PATH_CHECK_H
#define __PATH_CHECK_H
#include <stdio.h>

// datatype for kjørekommando etter path_check. Inneholder 2 int (vinkel og fart) og en bool (om joystick er trykket inn eller ikke)
struct path_check_results {
    int angle;
    int speed;
    bool js_num;
};

// Funksjonen som sammenligner ønsket kjøreretning med målte sensorverdier. Kjørekommando sin fart setter lik 0 hvis ønsket kjøreretning er blokkert.
struct path_check_results path_check(int angle, int speed, bool js_num, uint8_t sensorValues);

#endif
```
